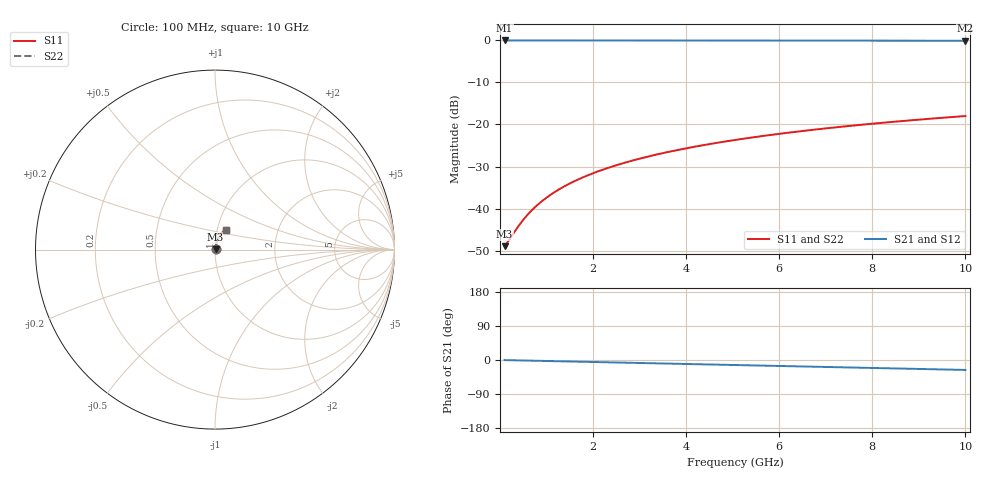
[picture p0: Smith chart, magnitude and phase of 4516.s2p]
# Hz S RI R 50.00
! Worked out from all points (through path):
!   100 points, 100 MHz to 10 GHz, reference 50 ohm
!   highest |S21| = -0.03 dB at 100 MHz (marker M1); lowest = -0.1 dB at 10 GHz (marker M2)
!   group delay of S21, straight-line fit = 7.29 ps
!   lowest |S11| = -48.9 dB at 100 MHz (marker M3), VSWR 1.01, Z = 50.3 + j0.13 ohm
!   |S11| at or under -10 dB: start of sweep to end of sweep
!   |S22| runs from -48.9 to -18.0 dB; largest |S21 - S12| = 0
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1e8  0.00334 0.00129  0.9967 -0.00456  0.9967 -0.00456  0.00334 0.00129
2e8  0.00337 0.00258  0.9966 -0.00912  0.9966 -0.00912  0.00337 0.00258
4e8  0.00347 0.00516  0.9964 -0.0182  0.9964 -0.0182  0.00347 0.00516
5e8  0.00353 0.00645  0.9963 -0.0228  0.9963 -0.0228  0.00353 0.00645
6e8  0.00361 0.00774  0.9962 -0.0274  0.9962 -0.0274  0.00361 0.00774
7e8  0.00369 0.00903  0.996 -0.0319  0.996 -0.0319  0.00369 0.00903
8e8  0.00379 0.0103  0.9958 -0.0365  0.9958 -0.0365  0.00379 0.0103
1e9  0.00401 0.0129  0.9954 -0.0456  0.9954 -0.0456  0.00401 0.0129
1.2e9  0.00428 0.0155  0.9949 -0.0547  0.9949 -0.0547  0.00428 0.0155
1.5e9  0.00478 0.0193  0.994 -0.0684  0.994 -0.0684  0.00478 0.0193
1.8e9  0.00537 0.0231  0.9928 -0.082  0.9928 -0.082  0.00537 0.0231
2.1e9  0.00607 0.0269  0.9915 -0.0956  0.9915 -0.0956  0.00607 0.0269
2.5e9  0.00717 0.032  0.9894 -0.1137  0.9894 -0.1137  0.00717 0.032
2.9e9  0.00844 0.037  0.9869 -0.1318  0.9869 -0.1318  0.00844 0.037
3.4e9  0.0103 0.0431  0.9834 -0.1544  0.9834 -0.1544  0.0103 0.0431
4.2e9  0.0138 0.0528  0.9765 -0.1902  0.9765 -0.1902  0.0138 0.0528
5.1e9  0.0187 0.0633  0.9672 -0.2301  0.9672 -0.2301  0.0187 0.0633
5.9e9  0.0237 0.0723  0.9574 -0.2652  0.9574 -0.2652  0.0237 0.0723
6.7e9  0.0293 0.0809  0.9462 -0.2998  0.9462 -0.2998  0.0293 0.0809
7.5e9  0.0356 0.0891  0.9337 -0.3339  0.9337 -0.3339  0.0356 0.0891
8.4e9  0.0433 0.0977  0.9181 -0.3716  0.9181 -0.3716  0.0433 0.0977
1e10  0.0587 0.1114  0.8865 -0.4367  0.8865 -0.4367  0.0587 0.1114
